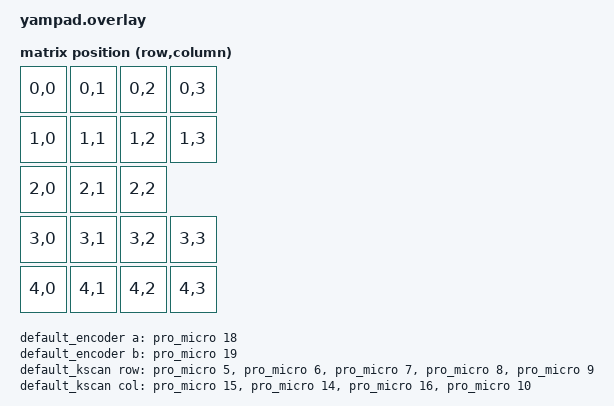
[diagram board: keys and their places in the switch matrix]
#include <dt-bindings/zmk/matrix_transform.h>
#include <dt-bindings/led/led.h>

/ {
	chosen {
		zmk,kscan = &default_kscan;
		zmk,matrix_transform = &default_transform;
		zmk,encoder = &default_encoder;
	};

	sensors {
		compatible = "zmk,keymap-sensors";
		sensors = <&default_encoder>;
	};

	default_encoder: encoder {
		compatible = "alps,ec11";
		label = "default_encoder";
		a-gpios = <&pro_micro 18 (GPIO_ACTIVE_HIGH | GPIO_PULL_UP)>;
		b-gpios = <&pro_micro 19 (GPIO_ACTIVE_HIGH | GPIO_PULL_UP)>;
		steps = <1>;  // Changed from 10 to 18 for single triggers
		status = "okay";
	};

	default_kscan: kscan {
		compatible = "zmk,kscan-gpio-matrix";
		label = "default_kscan";

		diode-direction = "col2row";

		row-gpios
			= <&pro_micro 5 (GPIO_ACTIVE_HIGH | GPIO_PULL_DOWN)>   // C6
			, <&pro_micro 6 (GPIO_ACTIVE_HIGH | GPIO_PULL_DOWN)>   // D7
			, <&pro_micro 7 (GPIO_ACTIVE_HIGH | GPIO_PULL_DOWN)>   // E6
			, <&pro_micro 8 (GPIO_ACTIVE_HIGH | GPIO_PULL_DOWN)>   // B4
			, <&pro_micro 9 (GPIO_ACTIVE_HIGH | GPIO_PULL_DOWN)>   // B5
			;
		col-gpios
			= <&pro_micro 15 (GPIO_ACTIVE_HIGH)>   // B1
			, <&pro_micro 14 (GPIO_ACTIVE_HIGH)>   // B3
			, <&pro_micro 16 (GPIO_ACTIVE_HIGH)>   // B2
			, <&pro_micro 10 (GPIO_ACTIVE_HIGH)>   // B6
			;
	};

	default_transform: keymap_transform_0 {
		compatible = "zmk,matrix-transform";
		columns = <4>;
		rows = <5>;

		map = <
RC(0,0) RC(0,1) RC(0,2) RC(0,3)
RC(1,0) RC(1,1) RC(1,2) RC(1,3)
RC(2,0) RC(2,1) RC(2,2) 
RC(3,0) RC(3,1) RC(3,2) RC(3,3)
RC(4,0) RC(4,1) RC(4,2) RC(4,3)
		>;
	};
};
